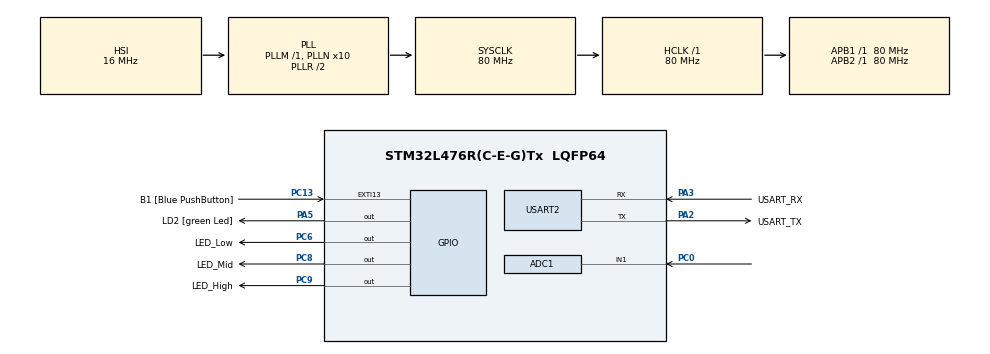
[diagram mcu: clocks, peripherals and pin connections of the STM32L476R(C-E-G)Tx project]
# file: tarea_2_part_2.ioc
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ADC1.Channel-0\#ChannelRegularConversion=ADC_CHANNEL_1
ADC1.NbrOfConversionFlag=1
ADC1.OffsetNumber-0\#ChannelRegularConversion=ADC_OFFSET_NONE
ADC1.Rank-0\#ChannelRegularConversion=1
ADC1.SamplingTime-0\#ChannelRegularConversion=ADC_SAMPLETIME_2CYCLES_5
ADC1.master=1
FREERTOS.Queues01=QueueSerial,100,uint32_t,0,Dynamic,NULL,NULL;QueueLedStatus,16,uint8_t,0,Dynamic,NULL,NULL;QueueADC,16,uint32_t,0,Dynamic,NULL,NULL
FREERTOS.Tasks01=ADCReadTask,40,128,StartADCReadTask,Default,NULL,Dynamic,NULL,NULL;consumerTask,8,512,StartConsumerTask,Default,NULL,Dynamic,NULL,NULL;LedStatusTask,24,128,StartLedStatusTask,Default,NULL,Dynamic,NULL,NULL;LedHandlerTask,24,128,StartLedHandlerTask,Default,NULL,Dynamic,NULL,NULL
FREERTOS.configTOTAL_HEAP_SIZE=8192
FREERTOS.configUSE_NEWLIB_REENTRANT=1
Mcu.Family=STM32L4
Mcu.Name=STM32L476R(C-E-G)Tx
Mcu.Package=LQFP64
NVIC.PriorityGroup=NVIC_PRIORITYGROUP_4
NVIC.TIM1_UP_TIM16_IRQn=true\:15\:0\:false\:false\:true\:false\:false\:true\:true
NVIC.TimeBase=TIM1_UP_TIM16_IRQn
NVIC.TimeBaseIP=TIM1
NVIC.USART2_IRQn=true\:5\:0\:false\:false\:true\:true\:true\:true\:true
PA13\ (JTMS-SWDIO).GPIO_Label=TMS
PA13\ (JTMS-SWDIO).Mode=Serial_Wire
PA13\ (JTMS-SWDIO).Signal=SYS_JTMS-SWDIO
PA14\ (JTCK-SWCLK).GPIO_Label=TCK
PA14\ (JTCK-SWCLK).Mode=Serial_Wire
PA14\ (JTCK-SWCLK).Signal=SYS_JTCK-SWCLK
PA2.GPIO_Label=USART_TX
PA2.GPIO_Mode=GPIO_MODE_AF_PP
PA2.GPIO_PuPd=GPIO_NOPULL
PA2.GPIO_Speed=GPIO_SPEED_FREQ_VERY_HIGH
PA2.Mode=Asynchronous
PA2.Signal=USART2_TX
PA3.GPIO_Label=USART_RX
PA3.GPIO_Mode=GPIO_MODE_AF_PP
PA3.GPIO_PuPd=GPIO_NOPULL
PA3.GPIO_Speed=GPIO_SPEED_FREQ_VERY_HIGH
PA3.Mode=Asynchronous
PA3.Signal=USART2_RX
PA5.GPIO_Label=LD2 [green Led]
PA5.GPIO_ModeDefaultOutputPP=GPIO_MODE_OUTPUT_PP
PA5.GPIO_PuPd=GPIO_NOPULL
PA5.GPIO_Speed=GPIO_SPEED_FREQ_LOW
PA5.Signal=GPIO_Output
PB3\ (JTDO-TRACESWO).GPIO_Label=SWO
PB3\ (JTDO-TRACESWO).Signal=SYS_JTDO-SWO
PC0.Signal=ADCx_IN1
PC13.GPIO_Label=B1 [Blue PushButton]
PC13.GPIO_ModeDefaultEXTI=GPIO_MODE_IT_FALLING
PC13.GPIO_PuPd=GPIO_NOPULL
PC13.Signal=GPXTI13
PC14-OSC32_IN\ (PC14).Mode=LSE-External-Oscillator
PC14-OSC32_IN\ (PC14).Signal=RCC_OSC32_IN
PC15-OSC32_OUT\ (PC15).Mode=LSE-External-Oscillator
PC15-OSC32_OUT\ (PC15).Signal=RCC_OSC32_OUT
PC6.GPIO_Label=LED_Low
PC6.Signal=GPIO_Output
PC8.GPIO_Label=LED_Mid
PC8.Signal=GPIO_Output
PC9.GPIO_Label=LED_High
PC9.Signal=GPIO_Output
PH0-OSC_IN\ (PH0).Signal=RCC_OSC_IN
PH1-OSC_OUT\ (PH1).Signal=RCC_OSC_OUT
ProjectManager.HeapSize=0x200
ProjectManager.StackSize=0x400
ProjectManager.TargetToolchain=STM32CubeIDE
RCC.ADCFreq_Value=64000000
RCC.AHBFreq_Value=80000000
RCC.APB1Freq_Value=80000000
RCC.APB1TimFreq_Value=80000000
RCC.APB2Freq_Value=80000000
RCC.APB2TimFreq_Value=80000000
RCC.CortexFreq_Value=80000000
RCC.HCLKFreq_Value=80000000
RCC.HSE_VALUE=8000000
RCC.HSI_VALUE=16000000
RCC.MSI_VALUE=4000000
RCC.PLLN=10
RCC.PLLSourceVirtual=RCC_PLLSOURCE_HSI
RCC.PREFETCH_ENABLE=1
RCC.SYSCLKFreq_VALUE=80000000
RCC.SYSCLKSource=RCC_SYSCLKSOURCE_PLLCLK
RCC.USBFreq_Value=64000000
RCC.VCOOutputFreq_Value=160000000
SH.ADCx_IN1.0=ADC1_IN1,IN1-Single-Ended
USART2.VirtualMode-Asynchronous=VM_ASYNC
VP_FREERTOS_VS_CMSIS_V2.Mode=CMSIS_V2
VP_SYS_VS_tim1.Mode=TIM1
board=NUCLEO-L476RG

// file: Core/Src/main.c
/* USER CODE BEGIN Header */
/**
  ******************************************************************************
  * @file           : main.c
  * @brief          : Main program body
  ******************************************************************************
  * @attention
  *
  * Copyright (c) 2026 STMicroelectronics.
  * All rights reserved.
  *
  * This software is licensed under terms that can be found in the LICENSE file
  * in the root directory of this software component.
  * If no LICENSE file comes with this software, it is provided AS-IS.
  *
  ******************************************************************************
  */
/* USER CODE END Header */
#include "main.h"
#include "cmsis_os.h"

/* USER CODE BEGIN Includes */
#include <stdlib.h>
#include <stdio.h>
#include <math.h>
/* USER CODE END Includes */

ADC_HandleTypeDef hadc1;

UART_HandleTypeDef huart2;

/* Definitions for ADCReadTask */
osThreadId_t ADCReadTaskHandle;
const osThreadAttr_t ADCReadTask_attributes = {
  .name = "ADCReadTask",
  .stack_size = 128 * 4,
  .priority = (osPriority_t) osPriorityHigh,
};
/* Definitions for consumerTask */
osThreadId_t consumerTaskHandle;
const osThreadAttr_t consumerTask_attributes = {
  .name = "consumerTask",
  .stack_size = 512 * 4,
  .priority = (osPriority_t) osPriorityLow,
};
/* Definitions for LedStatusTask */
osThreadId_t LedStatusTaskHandle;
const osThreadAttr_t LedStatusTask_attributes = {
  .name = "LedStatusTask",
  .stack_size = 128 * 4,
  .priority = (osPriority_t) osPriorityNormal,
};
/* Definitions for LedHandlerTask */
osThreadId_t LedHandlerTaskHandle;
const osThreadAttr_t LedHandlerTask_attributes = {
  .name = "LedHandlerTask",
  .stack_size = 128 * 4,
  .priority = (osPriority_t) osPriorityNormal,
};
/* Definitions for QueueSerial */
osMessageQueueId_t QueueSerialHandle;
const osMessageQueueAttr_t QueueSerial_attributes = {
  .name = "QueueSerial"
};
/* Definitions for QueueLedStatus */
osMessageQueueId_t QueueLedStatusHandle;
const osMessageQueueAttr_t QueueLedStatus_attributes = {
  .name = "QueueLedStatus"
};
/* Definitions for QueueADC */
osMessageQueueId_t QueueADCHandle;
const osMessageQueueAttr_t QueueADC_attributes = {
  .name = "QueueADC"
};
/* USER CODE BEGIN PV */

uint8_t byte_recibido;
char buffer_recepcion[20]; //Se pueden recibir números de hasta 19 carácteres. (Sin contar salto de línea)
uint8_t indice_recepcion;

/* USER CODE END PV */

void SystemClock_Config(void);
static void MX_GPIO_Init(void);
static void MX_USART2_UART_Init(void);
static void MX_ADC1_Init(void);
void StartADCReadTask(void *argument);
void StartConsumerTask(void *argument);
void StartLedStatusTask(void *argument);
void StartLedHandlerTask(void *argument);

int main(void)
{

  /* MCU Configuration--------------------------------------------------------*/

  /* Reset of all peripherals, Initializes the Flash interface and the Systick. */
  HAL_Init();

  /* Configure the system clock */
  SystemClock_Config();

  /* Initialize all configured peripherals */
  MX_GPIO_Init();
  MX_USART2_UART_Init();
  MX_ADC1_Init();
  /* USER CODE BEGIN 2 */
  HAL_UART_Receive_IT(&huart2, &byte_recibido, 1);
  /* USER CODE END 2 */

  /* Init scheduler */
  osKernelInitialize();

  /* Create the queue(s) */
  /* creation of QueueSerial */
  QueueSerialHandle = osMessageQueueNew (100, sizeof(uint32_t), &QueueSerial_attributes);

  /* creation of QueueLedStatus */
  QueueLedStatusHandle = osMessageQueueNew (16, sizeof(uint8_t), &QueueLedStatus_attributes);

  /* creation of QueueADC */
  QueueADCHandle = osMessageQueueNew (16, sizeof(uint32_t), &QueueADC_attributes);

  /* Create the thread(s) */
  /* creation of ADCReadTask */
  ADCReadTaskHandle = osThreadNew(StartADCReadTask, NULL, &ADCReadTask_attributes);

  /* creation of consumerTask */
  consumerTaskHandle = osThreadNew(StartConsumerTask, NULL, &consumerTask_attributes);

  /* creation of LedStatusTask */
  LedStatusTaskHandle = osThreadNew(StartLedStatusTask, NULL, &LedStatusTask_attributes);

  /* creation of LedHandlerTask */
  LedHandlerTaskHandle = osThreadNew(StartLedHandlerTask, NULL, &LedHandlerTask_attributes);

  /* Start scheduler */
  osKernelStart();

  /* We should never get here as control is now taken by the scheduler */

  /* Infinite loop */
  while (1)
  {

  }
}

void SystemClock_Config(void)
{
  RCC_OscInitTypeDef RCC_OscInitStruct = {0};
  RCC_ClkInitTypeDef RCC_ClkInitStruct = {0};

  /** Configure the main internal regulator output voltage
  */
  if (HAL_PWREx_ControlVoltageScaling(PWR_REGULATOR_VOLTAGE_SCALE1) != HAL_OK)
  {
    Error_Handler();
  }

  /** Initializes the RCC Oscillators according to the specified parameters
  * in the RCC_OscInitTypeDef structure.
  */
  RCC_OscInitStruct.OscillatorType = RCC_OSCILLATORTYPE_HSI;
  RCC_OscInitStruct.HSIState = RCC_HSI_ON;
  RCC_OscInitStruct.HSICalibrationValue = RCC_HSICALIBRATION_DEFAULT;
  RCC_OscInitStruct.PLL.PLLState = RCC_PLL_ON;
  RCC_OscInitStruct.PLL.PLLSource = RCC_PLLSOURCE_HSI;
  RCC_OscInitStruct.PLL.PLLM = 1;
  RCC_OscInitStruct.PLL.PLLN = 10;
  RCC_OscInitStruct.PLL.PLLP = RCC_PLLP_DIV7;
  RCC_OscInitStruct.PLL.PLLQ = RCC_PLLQ_DIV2;
  RCC_OscInitStruct.PLL.PLLR = RCC_PLLR_DIV2;
  if (HAL_RCC_OscConfig(&RCC_OscInitStruct) != HAL_OK)
  {
    Error_Handler();
  }

  /** Initializes the CPU, AHB and APB buses clocks
  */
  RCC_ClkInitStruct.ClockType = RCC_CLOCKTYPE_HCLK|RCC_CLOCKTYPE_SYSCLK
                              |RCC_CLOCKTYPE_PCLK1|RCC_CLOCKTYPE_PCLK2;
  RCC_ClkInitStruct.SYSCLKSource = RCC_SYSCLKSOURCE_PLLCLK;
  RCC_ClkInitStruct.AHBCLKDivider = RCC_SYSCLK_DIV1;
  RCC_ClkInitStruct.APB1CLKDivider = RCC_HCLK_DIV1;
  RCC_ClkInitStruct.APB2CLKDivider = RCC_HCLK_DIV1;

  if (HAL_RCC_ClockConfig(&RCC_ClkInitStruct, FLASH_LATENCY_4) != HAL_OK)
  {
    Error_Handler();
  }
}

static void MX_ADC1_Init(void)
{

  ADC_MultiModeTypeDef multimode = {0};
  ADC_ChannelConfTypeDef sConfig = {0};

  /** Common config
  */
  hadc1.Instance = ADC1;
  hadc1.Init.ClockPrescaler = ADC_CLOCK_ASYNC_DIV1;
  hadc1.Init.Resolution = ADC_RESOLUTION_12B;
  hadc1.Init.DataAlign = ADC_DATAALIGN_RIGHT;
  hadc1.Init.ScanConvMode = ADC_SCAN_DISABLE;
  hadc1.Init.EOCSelection = ADC_EOC_SINGLE_CONV;
  hadc1.Init.LowPowerAutoWait = DISABLE;
  hadc1.Init.ContinuousConvMode = DISABLE;
  hadc1.Init.NbrOfConversion = 1;
  hadc1.Init.DiscontinuousConvMode = DISABLE;
  hadc1.Init.ExternalTrigConv = ADC_SOFTWARE_START;
  hadc1.Init.ExternalTrigConvEdge = ADC_EXTERNALTRIGCONVEDGE_NONE;
  hadc1.Init.DMAContinuousRequests = DISABLE;
  hadc1.Init.Overrun = ADC_OVR_DATA_PRESERVED;
  hadc1.Init.OversamplingMode = DISABLE;
  if (HAL_ADC_Init(&hadc1) != HAL_OK)
  {
    Error_Handler();
  }

  /** Configure the ADC multi-mode
  */
  multimode.Mode = ADC_MODE_INDEPENDENT;
  if (HAL_ADCEx_MultiModeConfigChannel(&hadc1, &multimode) != HAL_OK)
  {
    Error_Handler();
  }

  /** Configure Regular Channel
  */
  sConfig.Channel = ADC_CHANNEL_1;
  sConfig.Rank = ADC_REGULAR_RANK_1;
  sConfig.SamplingTime = ADC_SAMPLETIME_2CYCLES_5;
  sConfig.SingleDiff = ADC_SINGLE_ENDED;
  sConfig.OffsetNumber = ADC_OFFSET_NONE;
  sConfig.Offset = 0;
  if (HAL_ADC_ConfigChannel(&hadc1, &sConfig) != HAL_OK)
  {
    Error_Handler();
  }

}

static void MX_USART2_UART_Init(void)
{

  huart2.Instance = USART2;
  huart2.Init.BaudRate = 115200;
  huart2.Init.WordLength = UART_WORDLENGTH_8B;
  huart2.Init.StopBits = UART_STOPBITS_1;
  huart2.Init.Parity = UART_PARITY_NONE;
  huart2.Init.Mode = UART_MODE_TX_RX;
  huart2.Init.HwFlowCtl = UART_HWCONTROL_NONE;
  huart2.Init.OverSampling = UART_OVERSAMPLING_16;
  huart2.Init.OneBitSampling = UART_ONE_BIT_SAMPLE_DISABLE;
  huart2.AdvancedInit.AdvFeatureInit = UART_ADVFEATURE_NO_INIT;
  if (HAL_UART_Init(&huart2) != HAL_OK)
  {
    Error_Handler();
  }

}

static void MX_GPIO_Init(void)
{
  GPIO_InitTypeDef GPIO_InitStruct = {0};

  /* GPIO Ports Clock Enable */
  __HAL_RCC_GPIOC_CLK_ENABLE();
  __HAL_RCC_GPIOH_CLK_ENABLE();
  __HAL_RCC_GPIOA_CLK_ENABLE();
  __HAL_RCC_GPIOB_CLK_ENABLE();

  /*Configure GPIO pin Output Level */
  HAL_GPIO_WritePin(LD2_GPIO_Port, LD2_Pin, GPIO_PIN_RESET);

  /*Configure GPIO pin Output Level */
  HAL_GPIO_WritePin(GPIOC, LED_Low_Pin|LED_Mid_Pin|LED_High_Pin, GPIO_PIN_RESET);

  /*Configure GPIO pin : B1_Pin */
  GPIO_InitStruct.Pin = B1_Pin;
  GPIO_InitStruct.Mode = GPIO_MODE_IT_FALLING;
  GPIO_InitStruct.Pull = GPIO_NOPULL;
  HAL_GPIO_Init(B1_GPIO_Port, &GPIO_InitStruct);

  /*Configure GPIO pin : LD2_Pin */
  GPIO_InitStruct.Pin = LD2_Pin;
  GPIO_InitStruct.Mode = GPIO_MODE_OUTPUT_PP;
  GPIO_InitStruct.Pull = GPIO_NOPULL;
  GPIO_InitStruct.Speed = GPIO_SPEED_FREQ_LOW;
  HAL_GPIO_Init(LD2_GPIO_Port, &GPIO_InitStruct);

  /*Configure GPIO pins : LED_Low_Pin LED_Mid_Pin LED_High_Pin */
  GPIO_InitStruct.Pin = LED_Low_Pin|LED_Mid_Pin|LED_High_Pin;
  GPIO_InitStruct.Mode = GPIO_MODE_OUTPUT_PP;
  GPIO_InitStruct.Pull = GPIO_NOPULL;
  GPIO_InitStruct.Speed = GPIO_SPEED_FREQ_LOW;
  HAL_GPIO_Init(GPIOC, &GPIO_InitStruct);

}

/* USER CODE BEGIN 4 */

void HAL_UART_RxCpltCallback(UART_HandleTypeDef *huart) {
    if (huart->Instance == USART2) {
        if (byte_recibido == '\n') {
                buffer_recepcion[indice_recepcion] = '\0'; // Fin del string

                float valor_recibido = atof(buffer_recepcion); // Convertimos texto a número float
                osMessageQueuePut(QueueSerialHandle, &valor_recibido, 0,0); //Se envía a la cola
                indice_recepcion = 0;
            }
        else {
            if (indice_recepcion < 19) { // Evitamos que explote el buffer
            	buffer_recepcion[indice_recepcion++] = byte_recibido;
            }
        }
        HAL_UART_Receive_IT(&huart2, &byte_recibido, 1);
    }
}

//Redireccionamiento de printf

int __io_putchar(int ch)

{
  // Mandamos un caracter a la vez por la UART2
  HAL_UART_Transmit(&huart2, (uint8_t *)&ch, 1, HAL_MAX_DELAY);
  return ch;
}

/* USER CODE END 4 */

void StartADCReadTask(void *argument)
{
  /* USER CODE BEGIN 5 */
	uint32_t start_tick = osKernelGetTickCount(); // Tiempo de referencia
	uint32_t adc_val = 0;
  /* Infinite loop */
  for(;;)
  {
    HAL_ADC_Start(&hadc1);
    if (HAL_ADC_PollForConversion(&hadc1, 10) == HAL_OK) {
    	adc_val = HAL_ADC_GetValue(&hadc1);
    }
    HAL_ADC_Stop(&hadc1);
    osMessageQueuePut(QueueADCHandle,&adc_val,0,0);
    osDelayUntil(start_tick+100);
    start_tick +=100;
  }
  /* USER CODE END 5 */
}

void StartConsumerTask(void *argument)
{
  /* USER CODE BEGIN StartConsumerTask */
	float datos[100];
	float dato_recibido = 0;
	osStatus_t status;
	int contador = 0;
  /* Infinite loop */
  for(;;)
  {
	status = osMessageQueueGet(QueueSerialHandle, &dato_recibido, NULL, osWaitForever);
	if(status == osOK){
		datos[contador] = dato_recibido;
		contador++;
	}
	if(contador == 100){
		float suma = 0;
		float promedio = 0;
		float varianza = 0;
		float desv_std = 0;

		for(int i = 0;i<100;i++){
			suma += datos[i];
		}
		promedio = suma/100.0f;

		for(int i = 0;i<100;i++){
			varianza += (datos[i]-promedio)*(datos[i]-promedio);
		}

		varianza = varianza/100.0f;
		desv_std = sqrtf(varianza);
		contador = 0;

		//Mandar los datos por uart!
		printf("Resultados: Promedio = %.2f, Desv. Est. = %.2f\r\n", promedio, desv_std);
	}
  }
  /* USER CODE END StartConsumerTask */
}

void StartLedStatusTask(void *argument)
{
  /* USER CODE BEGIN StartLedStatusTask */
	uint32_t raw_value;
	float voltaje_medido;
	uint8_t led_status;
	osStatus_t status;
  /* Infinite loop */
  for(;;)
  {
	  status = osMessageQueueGet(QueueADCHandle, &raw_value, NULL, osWaitForever);
	  if(status==osOK){
		  voltaje_medido = (float) raw_value*3.3f/4095.0f;

		  if(voltaje_medido > 2.2f){
			  //Tercer led encendido
			  led_status = 0x04; //0000 0100
		  }
		  else if(voltaje_medido > 1.1f){
			  //Segundo led encendido
			  led_status = 0x02; //0000 0010
		  }
		  else {
			  //Tercer led encendido
			  led_status = 0x01; //0000 0001
		  }
		  osMessageQueuePut(QueueLedStatusHandle,&led_status,0,0);
	  }
  }
  /* USER CODE END StartLedStatusTask */
}

void StartLedHandlerTask(void *argument)
{
  /* USER CODE BEGIN StartLedHandlerTask */
	osStatus_t status;
	uint8_t led_status;
  /* Infinite loop */
  for(;;)
  {
	  status = osMessageQueueGet(QueueLedStatusHandle, &led_status, NULL, osWaitForever);
	  if(status == osOK){
		  HAL_GPIO_WritePin(LED_Low_GPIO_Port, LED_Low_Pin, (led_status & 0x01));
		  HAL_GPIO_WritePin(LED_Mid_GPIO_Port, LED_Mid_Pin, (led_status & 0x02));
		  HAL_GPIO_WritePin(LED_High_GPIO_Port, LED_High_Pin, (led_status & 0x04));
	  }
  }
  /* USER CODE END StartLedHandlerTask */
}

void HAL_TIM_PeriodElapsedCallback(TIM_HandleTypeDef *htim)
{
  if (htim->Instance == TIM1)
  {
    HAL_IncTick();
  }
}

void Error_Handler(void)
{
  __disable_irq();
  while (1)
  {
  }
}
